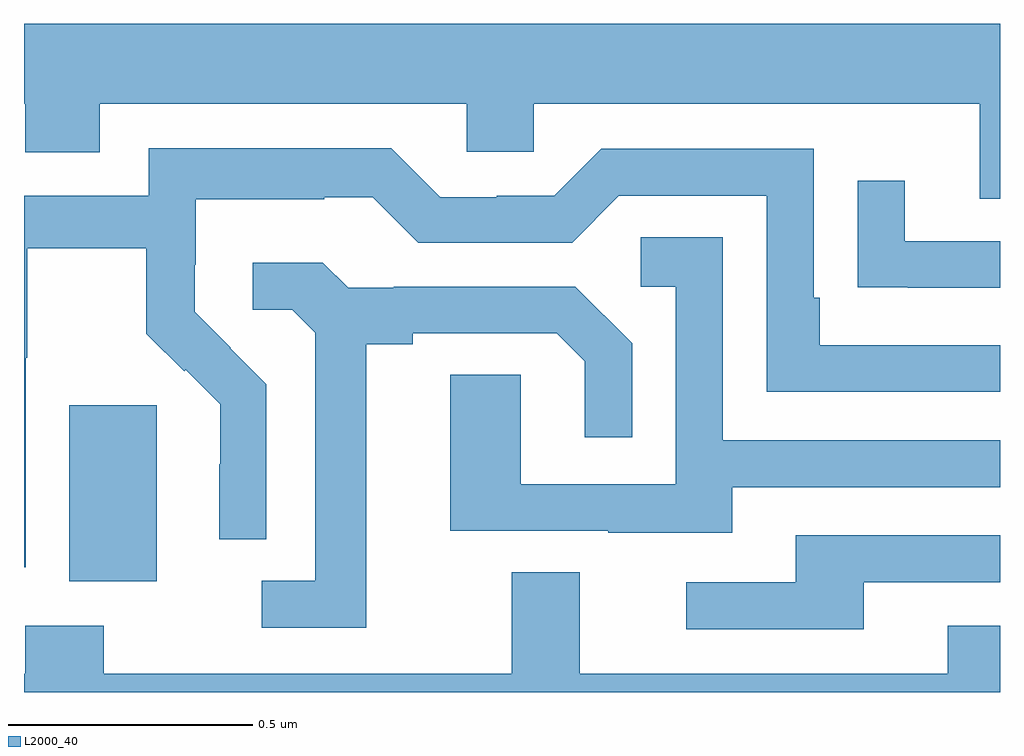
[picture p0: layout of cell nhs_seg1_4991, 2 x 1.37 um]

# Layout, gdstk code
import gdstk
lib = gdstk.Library(unit=1e-6, precision=1e-09)
def R(c, l, rs):  # rectangles x0, y0, x1, y1
    for r in rs: c.add(gdstk.rectangle(r[:2], r[2:], *l))
def P(c, l, *ps):  # polygons
    for p in ps: c.add(gdstk.Polygon(p, *l))
L2000_40 = (2000, 40)

nhs_seg1_4991 = lib.new_cell('nhs_seg1_4991')
R(nhs_seg1_4991, L2000_40, [(173.093,545.426,173.272,545.787)])
P(nhs_seg1_4991, L2000_40, [(175,546.568),(173,546.568),(173,546.404),(173.003,546.404),(173.003,546.305),(173.155,546.305),(173.155,546.404),(173.907,546.404),(173.907,546.306),(174.045,546.306),(174.045,546.404),(174.959,546.404),(174.959,546.21),(175,546.21)],
  [(173.004,545.884),(173.007,545.884),(173.007,546.108),(173.251,546.108),(173.251,545.933),(173.328,545.856),(173.331,545.859),(173.402,545.789),(173.402,545.666),(173.4,545.666),(173.4,545.512),(173.496,545.512),(173.496,545.83),(173.423,545.903),(173.424,545.904),(173.35,545.978),(173.35,546.075),(173.352,546.075),(173.352,546.209),(173.615,546.209),(173.615,546.213),(173.715,546.213),(173.808,546.12),(174.123,546.12),(174.219,546.216),(174.522,546.216),(174.522,545.814),(175,545.814),(175,545.91),(174.631,545.91),(174.631,546.007),(174.618,546.007),(174.618,546.312),(174.183,546.312),(174.087,546.216),(173.969,546.216),(173.969,546.213),(173.853,546.213),(173.753,546.313),(173.256,546.313),(173.256,546.216),(173,546.216),(173,545.455),(173.004,545.455)],
  [(175,546.123),(174.805,546.123),(174.805,546.247),(174.709,546.247),(174.709,546.028),(174.811,546.028),(174.811,546.027),(175,546.027)],
  [(174.451,545.619),(175,545.619),(175,545.715),(174.432,545.715),(174.432,546.131),(174.264,546.131),(174.264,546.03),(174.336,546.03),(174.336,545.625),(174.018,545.625),(174.018,545.849),(173.873,545.849),(173.873,545.529),(174.197,545.529),(174.197,545.525),(174.451,545.525)],
  [(173.701,545.912),(173.797,545.912),(173.797,545.934),(174.092,545.934),(174.149,545.877),(174.149,545.721),(174.246,545.721),(174.246,545.914),(174.13,546.03),(173.758,546.03),(173.758,546.027),(173.664,546.027),(173.612,546.079),(173.469,546.079),(173.469,545.982),(173.55,545.982),(173.597,545.935),(173.597,545.427),(173.487,545.427),(173.487,545.331),(173.701,545.331)],
  [(174.721,545.424),(175,545.424),(175,545.52),(174.581,545.52),(174.581,545.424),(174.357,545.424),(174.357,545.328),(174.721,545.328)],
  [(175,545.335),(174.893,545.335),(174.893,545.236),(174.139,545.236),(174.139,545.444),(173.999,545.444),(173.999,545.236),(173.163,545.236),(173.163,545.335),(173.003,545.335),(173.003,545.236),(173,545.236),(173,545.199),(175,545.199)])

lib.write_gds('nhs_seg1_4991.gds')
